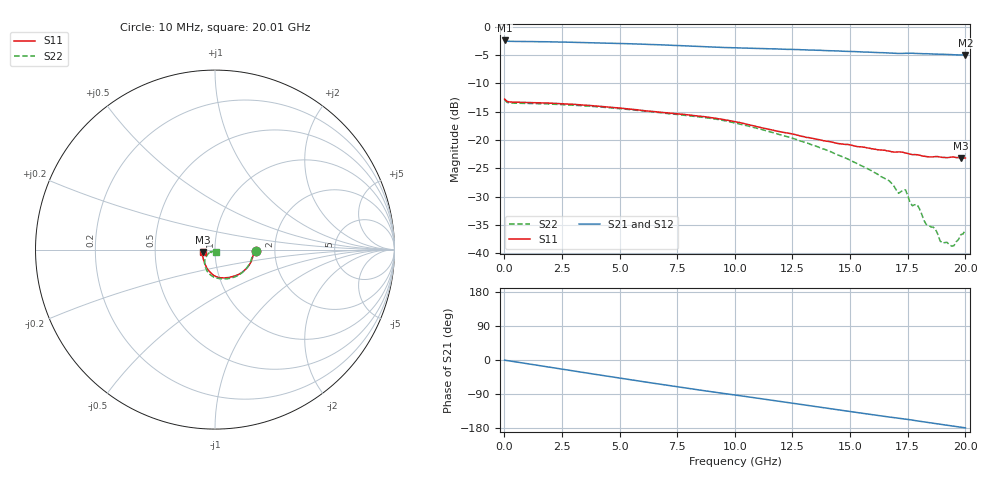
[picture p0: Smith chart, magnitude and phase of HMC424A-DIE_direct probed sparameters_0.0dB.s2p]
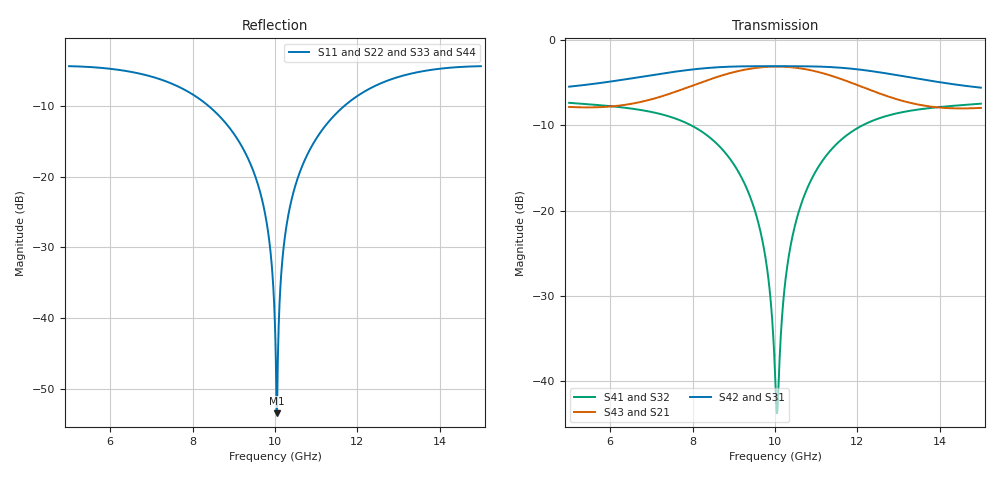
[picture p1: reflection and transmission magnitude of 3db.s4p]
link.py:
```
import sys
import pandas as pd
import skrf as rf
from pylab import *
import define_lianlu
from skrf import Network, Frequency, NetworkSet
import bonding_scan2snp
from write_s import fuction


f_min = 8
f_max = 12
freq = Frequency(f_min, f_max, 500, 'ghz')
def load_and_resample_network(path, name, frequency):
    net = rf.Network(path)
    net.name = name
    net.resample(frequency)
    return net

network_files = {
    'Phase': 'TR_SYS/s_python/phase/HMC543ALC4B_sparm_25C_1_0.s2p',
    'Sw_A': 'TR_SYS/s_python/SW/25C/ADRF5025_RF1_SEL_CTRL_3.3_25C.s3p',
    'Filter_TA': r'TR_SYS/s_python/filter/filter.s2p',
    'Pa_TA': 'TR_SYS/s_python/PA1/HMC1082LP4E_S-par_includes_EVB_111213.s2p',
    'ATT_T': 'TR_SYS/s_python/ATT/HMC424A-DIE_direct probed sparameters_0.0dB.s2p',
    'Pa_TB': 'TR_SYS/s_python/PA2/HMC952ALP5GE_SParameters.s2p',
    'Filter_TB': 'TR_SYS/s_python/filter/filter.s2p',
    'Sw_B': 'TR_SYS/s_python/SW/25C/ADRF5025_RF1_SEL_CTRL_3.3_25C.s3p',
    'dianqiao': 'TR_SYS/s_python/3db/3db.s4p',
    'Filter_TC': r'TR_SYS/s_python/filter/filter.s2p',
    'Filter_R': 'TR_SYS/s_python/filter/filter.s2p',
    'ATT_RA': 'TR_SYS/s_python/ATT/HMC424A-DIE_direct probed sparameters_0.0dB.s2p',
    'LNA1': 'TR_SYS/s_python/LNA/HMC963LC4 De-embedded.s2p',
    'LNA2': 'TR_SYS/s_python/LNA/HMC963LC4 De-embedded.s2p',
    'ATT_RB': 'TR_SYS/s_python/ATT/HMC424A-DIE_direct probed sparameters_0.0dB.s2p',
    'LNA_B': 'TR_SYS/s_python/LNA/HMC963LC4 De-embedded.s2p',
    'ssma': 'TR_SYS/s_python/ssma.s2p',
}

for name, path in network_files.items():
    net = load_and_resample_network(path, name, freq)
    globals()[name] = net

network_files_line = {
    "l1": 'bonding1.s2p',
    "l2": 'bonding2.s2p',
    "l3": 'bonding3.s2p',
    "l4": 'bonding4.s2p',
    "l5": 'bonding5.s2p',
    "l6": 'bonding6.s2p',
    "l7": 'bonding7.s2p',
    "l8": 'bonding8.s2p',
    "l9": 'bonding9.s2p',
    "l10": 'bonding10.s2p',
    "l11": 'bonding11.s2p',
    "l12": 'bonding12.s2p',
}

def TR_R():

    port1 = rf.Circuit.Port(freq, name="port1", z0=50)
    port2 = rf.Circuit.Port(freq, name="port2", z0=50)

    port1.resample(freq)
    port2.resample(freq)

    for index, (name, path) in enumerate(network_files_line.items()):
        a = a_values[index]
        net = read_sdB_2_re_parameters(path, name=name, beishu=a)

        globals()[name] = net

    connexions = [

        [(port1, 0), (ssma1, 0)],
        [(ssma1, 1), (l1, 0)],
        [(l1, 1), (Sw_A, 0)],
        [(Sw_A, 1), (l2, 0)],
        [(l2, 1), (Filter_TA, 0)],
        [(Filter_TA, 1), (l3, 0)],
        [(l3, 1), (Pa_TA, 0)],
        [(Pa_TA, 1), (l4, 0)],
        [(l4, 1), (Filter_TB, 0)],
        [(Filter_TB, 1), (GF, 0)],
        [(GF, 1), (l6, 0)],
        [(GF, 1), (l10, 0)],

        [(l6, 1), (Filter_TC, 0)],
        [(Filter_TC, 1), (L7, 0)],
        [(L7, 1), (LNA1, 0)],
        [(LNA1, 1), (l8, 0)],
        [(l8, 1), (Sw_B, 1)],
        [(l10, 1), (LNA2, 0)],
        [(LNA2, 1), (l11, 0)],
        [(l11, 1), (lim, 0)],
        [(lim, 1), (l12, 0)],
        [(l12, 1), (Sw_B, 2)],
        [(Sw_B, 0), (l9, 0)],
        [(l9, 0), (ssma2, 1)],
        [(ssma2, 1), (port2, 1)],

    ]

    cir = rf.Circuit(connexions)
    net = cir.network

    value = net.s_db[:, 0, 1]
    # value = net.s_db[:, 1, 0]
    print(freq.f, value)
    return freq.f, value
```
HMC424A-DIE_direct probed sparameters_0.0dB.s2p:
!s2p File: Measurements: S11, S21, S12, S22
# GHz S dB R 50.0
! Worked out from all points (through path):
!   201 points, 10 MHz to 20.01 GHz, reference 50 ohm
!   highest |S21| = -2.39 dB at 10 MHz (marker M1); lowest = -5.0 dB at 20.01 GHz (marker M2)
!   group delay of S21, straight-line fit = 24.6 ps
!   lowest |S11| = -23.2 dB at 19.81 GHz (marker M3), VSWR 1.15, Z = 43.6 - j1.14 ohm
!   |S11| at or under -10 dB: start of sweep to end of sweep
!   |S22| runs from -38.8 to -12.9 dB; largest |S21 - S12| = 0.0046
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0.01  -12.75 -1.4  -2.39 -0.5  -2.39 -0.5  -12.86 -1.5
2.51  -13.57 -23.3  -2.67 -24.3  -2.67 -24.3  -13.73 -26.8
5.41  -14.52 -49.0  -2.97 -51.5  -2.97 -51.5  -14.62 -56.2
10.01  -16.75 -91.7  -3.68 -92.4  -3.69 -92.3  -16.96 -101.1
15.61  -21.27 -137.7  -4.44 -141.2  -4.43 -141.0  -24.75 -142.9
17.11  -22.10 -149.5  -4.69 -153.6  -4.63 -153.7  -29.42 -147.0
17.41  -22.28 -153.4  -4.66 -156.0  -4.68 -156.3  -28.81 -149.7
19.01  -23.07 -164.5  -4.83 -170.3  -4.85 -170.2  -38.22 -116.2
19.51  -22.99 -167.2  -4.92 -174.8  -4.91 -174.5  -38.71 -85.0
19.81  -23.23 -169.1  -4.95 -177.3  -4.96 -177.2  -36.74 -71.2
20.01  -23.18 -169.4  -4.98 -179.1  -4.97 -178.9  -35.86 -63.1
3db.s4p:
! Created Wed Aug 30 10:33:10 2023
# ghz S ri R 50
! 4 Port Network Data from SP1.SP block
! freq  reS11  imS11  reS12  imS12  reS13  imS13  reS14  imS14
!  reS21  imS21  reS22  imS22  reS23  imS23  reS24  imS24
!  reS31  imS31  reS32  imS32  reS33  imS33  reS34  imS34
!  reS41  imS41  reS42  imS42  reS43  imS43  reS44  imS44
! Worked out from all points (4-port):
!   1001 points, 5 GHz to 15 GHz, reference 50 ohm
!   strongest paths, dB at 5 GHz, 7.5 GHz, 10 GHz, 12.5 GHz, 15 GHz:
!     S42: -5.5, -3.8, -3.1, -3.8, -5.6
!     S31: -5.5, -3.8, -3.1, -3.8, -5.6
!     S43: -7.9, -6.2, -3.1, -6.2, -8.0
!     S21: -7.9, -6.2, -3.1, -6.2, -8.0
!     S41: -7.4, -9.1, -39.0, -9.2, -7.5
!     S32: -7.4, -9.1, -39.0, -9.2, -7.5
!   lowest |S11| = -53.5 dB at 10.04 GHz (marker M1), VSWR 1.00, Z = 50.2 + j0.123 ohm
!   |S11| at or under -10 dB: 8.386 GHz to 11.68 GHz (3.297 GHz wide, 32.9 % of centre)
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5  -0.1314 0.5896  -0.0794 -0.3969  -0.3947 -0.3569  -0.2469 -0.3495
   -0.0794 -0.3969  -0.1314 0.5896  -0.2469 -0.3495  -0.3947 -0.3569
   -0.3947 -0.3569  -0.2469 -0.3495  -0.1314 0.5896  -0.0794 -0.3969
   -0.2469 -0.3495  -0.3947 -0.3569  -0.0794 -0.3969  -0.1314 0.5896
10.04  0.00174 0.00122  -0.6009 0.3546  0.3564 0.6041  -0.00475 0.00473
       -0.6009 0.3546  0.00174 0.00122  -0.00475 0.00473  0.3564 0.6041
       0.3564 0.6041  -0.00475 0.00473  0.00174 0.00122  -0.6009 0.3546
       -0.00475 0.00473  0.3564 0.6041  -0.6009 0.3546  0.00174 0.00122
15  0.5813 0.1633  0.3036 0.26  -0.1241 -0.51  0.188 0.3789
    0.3036 0.26  0.5813 0.1633  0.188 0.3789  -0.1241 -0.51
    -0.1241 -0.51  0.188 0.3789  0.5813 0.1633  0.3036 0.26
    0.188 0.3789  -0.1241 -0.51  0.3036 0.26  0.5813 0.1633
